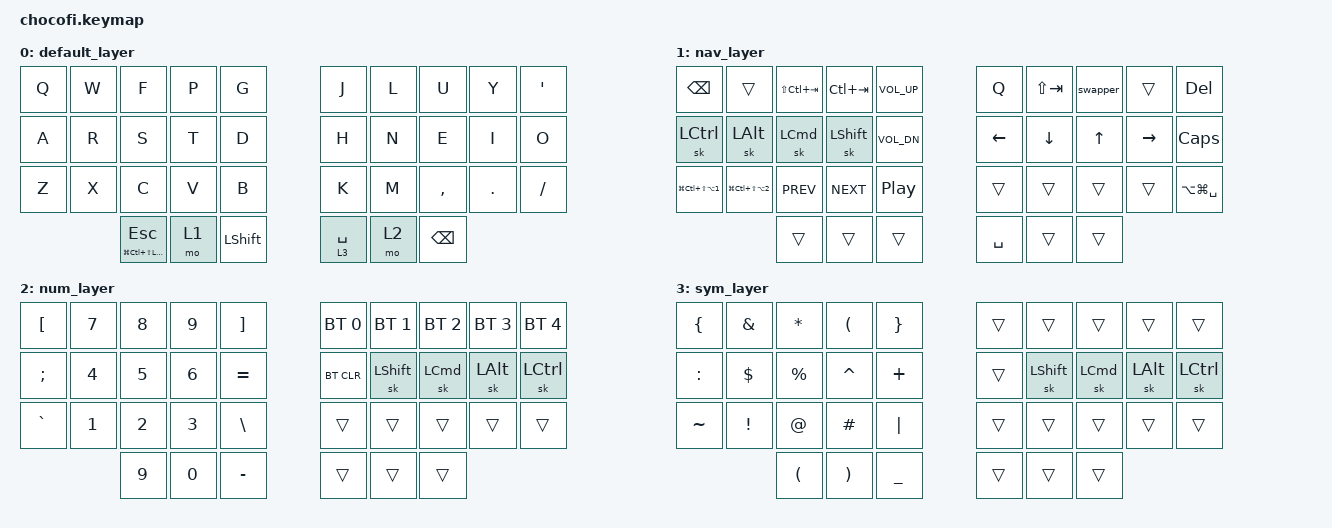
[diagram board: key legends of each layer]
/*
 * Copyright (c) 2020 The ZMK Contributors
 *
 * SPDX-License-Identifier: MIT
 */

#include <behaviors.dtsi>
#include <dt-bindings/zmk/keys.h>
#include <dt-bindings/zmk/bt.h>

/ {
    keymap {
        compatible = "zmk,keymap";

        default_layer {
// -----------------------------------------------------------------------------------------
// |  Q  |  W  |  F  |  P  |  G  |   |  J  |  L   |  U  |  Y  |  ;  |
// |  A  |  R  |  S  |  T  |  D  |   |  H  |  N   |  E  |  I  |  O  |
// |  Z  |  X  |  C  |  V  |  B  |   |  N  |  M   |  ,  |  .  |  /  |
//             | ESC | NAV | SFT |   | SPC | NUM  | BSPC |
            bindings = <
     &kp Q &kp W &kp F                    &kp P &kp G        &kp J       &kp L &kp U     &kp Y   &kp SQT
     &kp A &kp R &kp S                    &kp T &kp D        &kp H       &kp N &kp E     &kp I   &kp O
     &kp Z &kp X &kp C                    &kp V &kp B        &kp K       &kp M &kp COMMA &kp DOT &kp FSLH
                 &mt LG(LC(LS(LALT))) ESC &mo 1 &kp LSHIFT   &lt 3 SPACE &mo 2 &kp BSPC
            >;
        };
        nav_layer {
// -----------------------------------------------------------------------------------------
// | BSPC |      | C+TAB | C+S+TAB | VOL UP   |   |  Q   | SWAP> |  <SWAP  |       | DEL  |
// |      |      |       |         | VOL DOWN |   | LEFT | DOWN  | UP      | RIGHT | CAPS |
// | AUD1 | AUD2 | PREV  | NEXT    | PLAY     |   |      |       |         |       | LANG |
//               |       |         |          |   | SPC  |       |         |
            bindings = <
   &kp BSPC               &trans                 &kp LS(LC(TAB)) &kp LC(TAB) &kp C_VOL_UP   &kp Q     &kp LS(TAB)  &swapper &trans    &kp DEL
   &sk LCTRL              &sk LALT               &sk LCMD        &sk LSHIFT  &kp C_VOL_DN   &kp LEFT  &kp DOWN     &kp UP   &kp RIGHT &kp CAPS
   &kp LG(LC(LS(LA(N1)))) &kp LG(LC(LS(LA(N2)))) &kp C_PREV      &kp C_NEXT  &kp C_PP       &trans    &trans       &trans   &trans    &kp LA(LG(SPACE))
                                                 &trans          &trans      &trans         &kp SPACE &trans       &trans
            >;
        };

        num_layer {
// -----------------------------------------------------------------------------------------
// |  [  |  7  |  8  |  9  |  ]  |   | BT0 | BT1 | BT2 | BT3 | BT4 |
// |  ;  |  4  |  5  |  6  |  =  |   |     |     |     |     |     |
// |  `  |  1  |  2  |  3  |  \  |   |     |     |     |     |     |
//             |  9  |  0  |  -  |   |     |     |     |
            bindings = <
   &kp LBKT  &kp N7 &kp N8 &kp N9 &kp RBKT    &bt BT_SEL 0 &bt BT_SEL 1 &bt BT_SEL 2 &bt BT_SEL 3 &bt BT_SEL 4
   &kp SEMI  &kp N4 &kp N5 &kp N6 &kp EQUAL   &bt BT_CLR   &sk LSHIFT   &sk LCMD     &sk LALT     &sk LCTRL
   &kp GRAVE &kp N1 &kp N2 &kp N3 &kp BSLH    &trans       &trans       &trans       &trans       &trans
                    &kp N9 &kp N0 &kp MINUS   &trans       &trans       &trans
            >;
        };

        sym_layer {
// -----------------------------------------------------------------------------------------
// |  {  |  &  |  *  |  (  |  }  |   |     |     |     |     |     |
// |  :  |  $  |  %  |  ^  |  +  |   |     |     |     |     |     |
// |  ~  |  !  |  @  |  #  |  |  |   |     |     |     |     |     |
//             |  (  |  )  |  _  |   |     |     |     |
            bindings = <
   &kp LBRC   &kp AMPS &kp ASTRK &kp LPAR  &kp RBRC    &trans &trans     &trans   &trans   &trans
   &kp COLON  &kp DLLR &kp PRCNT &kp CARET &kp PLUS    &trans &sk LSHIFT &sk LCMD &sk LALT &sk LCTRL
   &kp TILDE  &kp EXCL &kp AT    &kp HASH  &kp PIPE    &trans &trans     &trans   &trans   &trans
                       &kp LPAR  &kp RPAR  &kp UNDER   &trans &trans     &trans
            >;
        };
    };

    // Enables window switching keybindings on the nav layer. Hold the nav layer 
    // to keep showing the macOS window switcher UI.
    behaviors {
        swapper: swapper {
            compatible = "zmk,behavior-tri-state";
            #binding-cells = <0>;
            bindings = <&kt LGUI>, <&kp TAB>, <&kt LGUI>;
            ignored-key-positions = <5 6>;
        };
    };

    combos {
        compatible = "zmk,combos";
        combo_tab {
            timeout-ms = <50>;
            require-prior-idle-ms = <125>;
            key-positions = <2 3>;
            bindings = <&kp TAB>;
        };
        combo_enter {
            timeout-ms = <50>;
            require-prior-idle-ms = <125>;
            key-positions = <6 7>;
            bindings = <&kp ENTER>;
        };
        combo_enter_2 {
            timeout-ms = <50>;
            require-prior-idle-ms = <125>;
            key-positions = <6 16>;
            bindings = <&kp ENTER>;
        };
        combo_colon {
            timeout-ms = <50>;
            require-prior-idle-ms = <125>;
            key-positions = <26 27>;
            bindings = <&kp COLON>;
        };
        combo_minus {
            timeout-ms = <50>;
            require-prior-idle-ms = <125>;
            key-positions = <27 28>;
            bindings = <&kp MINUS>;
        };
        combo_undo {
            timeout-ms = <50>;
            require-prior-idle-ms = <125>;
            key-positions = <20 21>;
            bindings = <&kp LG(Z)>;
        };
        combo_copy {
            timeout-ms = <50>;
            require-prior-idle-ms = <125>;
            key-positions = <21 22>;
            bindings = <&kp LG(C)>;
        };
        combo_paste {
            timeout-ms = <50>;
            require-prior-idle-ms = <125>;
            key-positions = <22 23>;
            bindings = <&kp LG(V)>;
        };
    };
};
